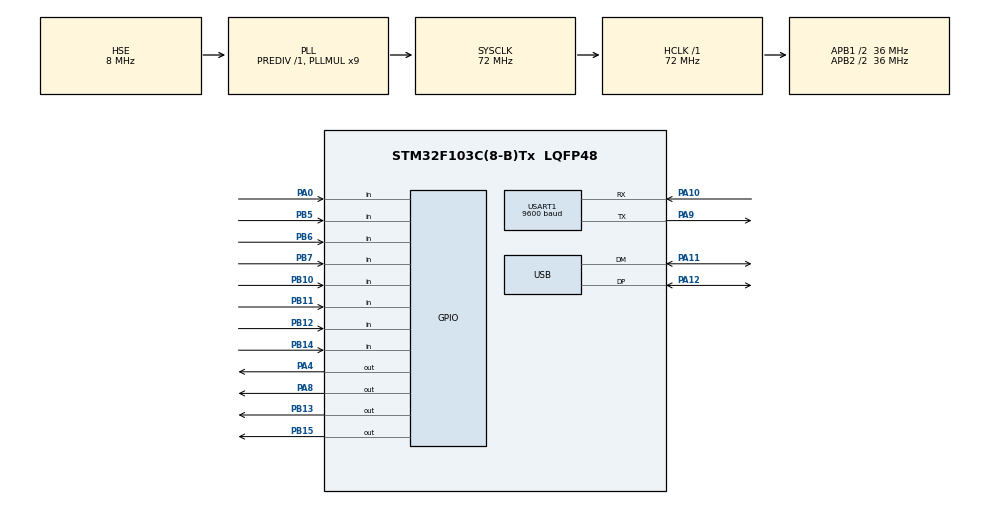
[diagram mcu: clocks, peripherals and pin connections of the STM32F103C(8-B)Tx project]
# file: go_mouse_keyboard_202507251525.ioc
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Mcu.Family=STM32F1
Mcu.Name=STM32F103C(8-B)Tx
Mcu.Package=LQFP48
NVIC.PriorityGroup=NVIC_PRIORITYGROUP_4
NVIC.USB_LP_CAN1_RX0_IRQn=true\:0\:0\:false\:false\:true\:false\:true\:true
PA0-WKUP.GPIO_PuPd=GPIO_PULLDOWN
PA0-WKUP.Signal=GPIO_Input
PA10.Mode=Asynchronous
PA10.Signal=USART1_RX
PA11.Mode=Device
PA11.Signal=USB_DM
PA12.Mode=Device
PA12.Signal=USB_DP
PA13.Mode=Serial_Wire
PA13.Signal=SYS_JTMS-SWDIO
PA14.Mode=Serial_Wire
PA14.Signal=SYS_JTCK-SWCLK
PA4.Signal=GPIO_Output
PA8.Signal=GPIO_Output
PA9.Mode=Asynchronous
PA9.Signal=USART1_TX
PB10.Signal=GPIO_Input
PB11.Signal=GPIO_Input
PB12.Signal=GPIO_Input
PB13.Signal=GPIO_Output
PB14.Signal=GPIO_Input
PB15.Signal=GPIO_Output
PB5.Signal=GPIO_Input
PB6.Signal=GPIO_Input
PB7.Signal=GPIO_Input
PC14-OSC32_IN.Mode=LSE-External-Oscillator
PC14-OSC32_IN.Signal=RCC_OSC32_IN
PC15-OSC32_OUT.Mode=LSE-External-Oscillator
PC15-OSC32_OUT.Signal=RCC_OSC32_OUT
PD0-OSC_IN.Mode=HSE-External-Oscillator
PD0-OSC_IN.Signal=RCC_OSC_IN
PD1-OSC_OUT.Mode=HSE-External-Oscillator
PD1-OSC_OUT.Signal=RCC_OSC_OUT
ProjectManager.HeapSize=0x1000
ProjectManager.StackSize=0x1000
ProjectManager.TargetToolchain=STM32CubeIDE
RCC.AHBFreq_Value=72000000
RCC.APB1CLKDivider=RCC_HCLK_DIV2
RCC.APB1Freq_Value=36000000
RCC.APB1TimFreq_Value=72000000
RCC.APB2CLKDivider=RCC_HCLK_DIV2
RCC.APB2Freq_Value=36000000
RCC.APB2TimFreq_Value=72000000
RCC.HCLKFreq_Value=72000000
RCC.PLLMUL=RCC_PLL_MUL9
RCC.SYSCLKFreq_VALUE=72000000
RCC.SYSCLKSource=RCC_SYSCLKSOURCE_PLLCLK
RCC.USBFreq_Value=48000000
RCC.USBPrescaler=RCC_USBCLKSOURCE_PLL_DIV1_5
USART1.BaudRate=9600
USART1.VirtualMode=VM_ASYNC
USB_DEVICE.CLASS_NAME_FS=HID
USB_DEVICE.VirtualMode=Hid
USB_DEVICE.VirtualModeFS=Hid_FS
VP_USB_DEVICE_VS_USB_DEVICE_HID_FS.Mode=HID_FS
board=custom

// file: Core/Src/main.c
/* USER CODE BEGIN Header */
/**
  ******************************************************************************
  * @file           : main.c
  * @brief          : Main program body
  ******************************************************************************
  * @attention
  *
  * Copyright (c) 2024 STMicroelectronics.
  * All rights reserved.
  *
  * This software is licensed under terms that can be found in the LICENSE file
  * in the root directory of this software component.
  * If no LICENSE file comes with this software, it is provided AS-IS.
  *
  ******************************************************************************
  */
/* USER CODE END Header */
#include "main.h"
#include "usart.h"
#include "usb_device.h"
#include "gpio.h"

void SystemClock_Config(void);
/* USER CODE BEGIN PFP */
#include "usbd_hid.h"
#include "oled.h" //显示屏
#include "Serial.h" //串口
#include "Key.h" //按键
// 实现鼠标和键盘一体化后，由.ioc文件自动生成的usbd_hid.h 和 usbd_hid.c文件，需要被手工修，或直接替换
/* USER CODE END PFP */

/* USER CODE BEGIN 0 */

// HID report descriptor, example for a simple mouse
static uint8_t Mouse[9] = {2,0,0,0,0,0,0,0,0};
static uint8_t KeyBoard[9] = {1,0,0,4,0,0,0,0,0};
static uint8_t KeyBoard01[9] = {1,0,0,0,0,0,0,0,0};
static uint8_t mouse_keyboard_test_1[10] = {0x01,0x0A,0x0A,0x20,0x00,0x00,0x00,0x00,0x00,0x00};//MAC截屏测试命令
static uint8_t mouse_keyboard_test_2[10] = {0x02,0x00,0x40,0x00,0x00,0x00,0x00,0x00,0x00,0x00};//向右移动鼠标
static uint8_t mouse_keyboard_test_3[10] = {0x02,0x00,0xC0,0x00,0x00,0x00,0x00,0x00,0x00,0x00};//向左移动鼠标
static uint8_t mouse_keyboard_test_4[10] = {0x02,0x00,0x00,0xC0,0x00,0x00,0x00,0x00,0x00,0x00};//向上移动鼠标
static uint8_t mouse_keyboard_test_5[10] = {0x02,0x00,0x00,0x40,0x00,0x00,0x00,0x00,0x00,0x00};//向下移动鼠标
static uint8_t mouse_keyboard_test_6[10] = {0x01,0x01,0x0A,0x3A,0x00,0x00,0x00,0x00,0x00,0x00};//安卓截屏测试命令

// HID 键名数组
const char* HID_KEY_NAMES[] = {
    "None", "Err", "Err", "Err", "a", "b", "c", "d", "e", "f",
    "g", "h", "i", "j", "k", "l", "m", "n", "o", "p",
    "q", "r", "s", "t", "u", "v", "w", "x", "y", "z",
    "1", "2", "3", "4", "5", "6", "7", "8", "9", "0",
    "Enter", "Esc", "Bksp", "Tab", "Space", "-", "=", "[", "]", "\\",
    "None", ";", "'", "`", ",", ".", "/", "Caps", "F1", "F2",
    "F3", "F4", "F5", "F6", "F7", "F8", "F9", "F10", "F11", "F12",
    "PrtSc", "ScrLk", "Pause", "Ins", "Home", "PgUp", "Del", "End", "PgDn", "Right",
    "Left", "Down", "Up", "NumLk", "KP /", "KP *", "KP -", "KP +", "KP Enter", "KP 1",
    "KP 2", "KP 3", "KP 4", "KP 5", "KP 6", "KP 7", "KP 8", "KP 9", "KP 0", "KP .",
    "Err", "Err", "Err", "Err", "Err", "Err", "Err", "Err", "Err", "Err",
    "Err", "Err", "Err", "Err", "Err", "Err", "Err", "Err", "Err", "Err"
};

// 修饰键数组
const char* MODIFIER_KEYS[] = {
    "", "Ctrl", "Shift", "Ctrl+Shift", "Alt", "Ctrl+Alt", "Shift+Alt", "Ctrl+Shift+Alt",
    "GUI", "Ctrl+GUI", "Shift+GUI", "Ctrl+Shift+GUI", "Alt+GUI", "Ctrl+Alt+GUI", "Shift+Alt+GUI", "Ctrl+Shift+Alt+GUI"
};

// Declare the external USB device handle
extern USBD_HandleTypeDef hUsbDeviceFS;

/* USER CODE END 0 */

int main(void)
{

  /* MCU Configuration--------------------------------------------------------*/

  /* Reset of all peripherals, Initializes the Flash interface and the Systick. */
  HAL_Init();

  /* Configure the system clock */
  SystemClock_Config();

  /* Initialize all configured peripherals */
  MX_GPIO_Init();
  MX_USB_DEVICE_Init();
  MX_USART1_UART_Init();

  /* USER CODE BEGIN 2 */
  OLED_InitDisplay();//OLED显示初始化 需要放在 MX_GPIO_Init() 之后，用 oled.c 里的初始化设置代替 gpio.c 里的系统初始化
  Key_Init();//按键初始化
  Serial_Init();// 串口 UART 的初始化
  uint8_t KeyNum; // 定义用于接收按键键码的变量

  //蜂鸣器
  HAL_GPIO_WritePin(GPIOA, GPIO_PIN_4, GPIO_PIN_SET);
  HAL_GPIO_TogglePin(GPIOA, GPIO_PIN_8);//LED指示灯闪烁
  HAL_Delay(200);  // 响200ms
  HAL_GPIO_WritePin(GPIOA, GPIO_PIN_4, GPIO_PIN_RESET);
  HAL_GPIO_TogglePin(GPIOA, GPIO_PIN_8);//LED指示灯闪烁
  HAL_Delay(200);  // 延时

  processMouseCommand(mouse_keyboard_test_2);// 右
  HAL_Delay(500);  // 延时
  processMouseCommand(mouse_keyboard_test_3);// 左
  processMouseCommand(mouse_keyboard_test_3);// 左
  HAL_Delay(500);  // 延时
  processMouseCommand(mouse_keyboard_test_4);// 上
  HAL_Delay(500);  // 延时
  processMouseCommand(mouse_keyboard_test_5);// 下
  processMouseCommand(mouse_keyboard_test_5);// 下
  HAL_Delay(500);  // 延时
  processMouseCommand(mouse_keyboard_test_3);// 左
  HAL_Delay(500);  // 延时
  processMouseCommand(mouse_keyboard_test_2);// 右
  processMouseCommand(mouse_keyboard_test_2);// 右
  HAL_Delay(500);  // 延时
  processMouseCommand(mouse_keyboard_test_5);// 下
  HAL_Delay(500);  // 延时
  processMouseCommand(mouse_keyboard_test_4);// 上
  processMouseCommand(mouse_keyboard_test_4);// 上
  HAL_Delay(500);  // 延时

  processKeyboardCommand(mouse_keyboard_test_1);// MAC截屏
  processKeyboardCommand(mouse_keyboard_test_6);// 安卓截屏

  //蜂鸣器
  HAL_GPIO_WritePin(GPIOA, GPIO_PIN_4, GPIO_PIN_SET);
  HAL_GPIO_TogglePin(GPIOA, GPIO_PIN_8);//LED指示灯闪烁
  HAL_Delay(200);  // 响400ms
  HAL_GPIO_WritePin(GPIOA, GPIO_PIN_4, GPIO_PIN_RESET);
  HAL_GPIO_TogglePin(GPIOA, GPIO_PIN_8);//LED指示灯闪烁
  HAL_Delay(200);  // 响400ms
  HAL_GPIO_WritePin(GPIOA, GPIO_PIN_4, GPIO_PIN_SET);
  HAL_GPIO_TogglePin(GPIOA, GPIO_PIN_8);//LED指示灯闪烁
  HAL_Delay(200);  // 响400ms
  HAL_GPIO_WritePin(GPIOA, GPIO_PIN_4, GPIO_PIN_RESET);
  HAL_GPIO_TogglePin(GPIOA, GPIO_PIN_8);//LED指示灯闪烁

  /*设置发送数据包数组的初始值*/
  memset(Serial_TxPacket, 0, 10); //包有效数据长度为10，0-9

  /* USER CODE END 2 */

  /* Infinite loop */
  /* USER CODE BEGIN WHILE */
  while (1)
  {
      initializeMouseKeyBoards(); // 初始化鼠标键盘预设函数
      KeyNum = Key_GetNum();			//获取按键键码

      switch (KeyNum)
      {
      	  case 0://led测试 PA0 MAC截屏及鼠标移动测试
      	  case 10://led测试 PB10 MAC截屏及鼠标移动测试
      		HAL_GPIO_TogglePin(GPIOA, GPIO_PIN_8);//LED指示灯闪烁

      		//蜂鸣器
      		HAL_GPIO_WritePin(GPIOA, GPIO_PIN_4, GPIO_PIN_SET);
      		HAL_Delay(200);  // 响200ms
      		HAL_GPIO_WritePin(GPIOA, GPIO_PIN_4, GPIO_PIN_RESET);

      		processKeyboardCommand(mouse_keyboard_test_1);// 截屏
      		HAL_Delay(200);  // 延时
      		processMouseCommand(mouse_keyboard_test_2);// 右
      		HAL_Delay(1000);  // 延时
      		processMouseCommand(mouse_keyboard_test_3);// 左
      		processMouseCommand(mouse_keyboard_test_3);// 左
      		HAL_Delay(1000);  // 延时
      		processMouseCommand(mouse_keyboard_test_4);// 上
      		HAL_Delay(1000);  // 延时
      		processMouseCommand(mouse_keyboard_test_5);// 下
      		processMouseCommand(mouse_keyboard_test_5);// 下
      		HAL_Delay(1000);  // 延时
      		processMouseCommand(mouse_keyboard_test_3);// 左
      		HAL_Delay(1000);  // 延时
      		processMouseCommand(mouse_keyboard_test_2);// 右
      		processMouseCommand(mouse_keyboard_test_2);// 右
      		HAL_Delay(1000);  // 延时
      		processMouseCommand(mouse_keyboard_test_5);// 下
      		HAL_Delay(1000);  // 延时
      		processMouseCommand(mouse_keyboard_test_4);// 上
      		processMouseCommand(mouse_keyboard_test_4);// 上

      		//蜂鸣器
      		HAL_GPIO_WritePin(GPIOA, GPIO_PIN_4, GPIO_PIN_SET);
      		HAL_Delay(400);  // 响400ms
      		HAL_GPIO_WritePin(GPIOA, GPIO_PIN_4, GPIO_PIN_RESET);

      		break;
      	  case 11://led测试 PB11 安卓截屏及鼠标移动测试
      		HAL_GPIO_TogglePin(GPIOA, GPIO_PIN_8);//LED指示灯闪烁

      		//蜂鸣器
      		HAL_GPIO_WritePin(GPIOA, GPIO_PIN_4, GPIO_PIN_SET);
      		HAL_Delay(200);  // 响200ms
      		HAL_GPIO_WritePin(GPIOA, GPIO_PIN_4, GPIO_PIN_RESET);

        	processKeyboardCommand(mouse_keyboard_test_6);// 截屏
        	HAL_Delay(200);  // 延时
        	processMouseCommand(mouse_keyboard_test_2);// 右
        	HAL_Delay(1000);  // 延时
        	processMouseCommand(mouse_keyboard_test_3);// 左
        	processMouseCommand(mouse_keyboard_test_3);// 左
        	HAL_Delay(1000);  // 延时
        	processMouseCommand(mouse_keyboard_test_4);// 上
        	HAL_Delay(1000);  // 延时
        	processMouseCommand(mouse_keyboard_test_5);// 下
        	processMouseCommand(mouse_keyboard_test_5);// 下
        	HAL_Delay(1000);  // 延时
        	processMouseCommand(mouse_keyboard_test_3);// 左
        	HAL_Delay(1000);  // 延时
        	processMouseCommand(mouse_keyboard_test_2);// 右
        	processMouseCommand(mouse_keyboard_test_2);// 右
        	HAL_Delay(1000);  // 延时
        	processMouseCommand(mouse_keyboard_test_5);// 下
        	HAL_Delay(1000);  // 延时
        	processMouseCommand(mouse_keyboard_test_4);// 上
        	processMouseCommand(mouse_keyboard_test_4);// 上

      		//蜂鸣器
      		HAL_GPIO_WritePin(GPIOA, GPIO_PIN_4, GPIO_PIN_SET);
      		HAL_Delay(400);  // 响400ms
      		HAL_GPIO_WritePin(GPIOA, GPIO_PIN_4, GPIO_PIN_RESET);

      		break;
      	  case 5:
      	  case 6:
      	  case 7:
      	  case 12:
      	  case 14:
      		OLED_ShowString(4, 3, "             "); // 擦干净
      		OLED_ShowNum(4, 3, KeyNum, 2);
      		break;
          default:
              break;
      }

	  if (Serial_GetRxPacketFlag() == 1)			//检查串口包接收数据的标志位
	  {
	      switch (Serial_RxPacket[0]) // 命令
	      {
	      	case 0x00: // 保留
	      		break;
	        case 0x01: // 键盘
	            processKeyboardCommand(Serial_RxPacket);// 处理串口收到的键盘数据
//	            HAL_GPIO_TogglePin(GPIOA, GPIO_PIN_8);//LED指示灯闪烁
	            break;
	        case 0x02: // 鼠标
	            processMouseCommand(Serial_RxPacket);// 处理串口收到的数据
//	        	HAL_GPIO_TogglePin(GPIOA, GPIO_PIN_8);//LED指示灯闪烁
	            break;
	        case 0x03: // 蜂鸣器
	        	HAL_GPIO_TogglePin(GPIOA, GPIO_PIN_8);//LED指示灯闪烁
	        	HAL_GPIO_WritePin(GPIOA, GPIO_PIN_4, GPIO_PIN_SET);
	        	HAL_Delay(30);  // 响30ms
	        	HAL_GPIO_WritePin(GPIOA, GPIO_PIN_4, GPIO_PIN_RESET);
	        	break;
	        default:
	            break;
	      }
		  /*串口发送命令执行完成数据包，原命令数据返回*/
		  memcpy(Serial_TxPacket, Serial_RxPacket, 10);//包有效数据长度为10，0-9
		  Serial_SendPacket();		//串口发送数据包Serial_TxPacket

      }

	  // HAL_Delay(10);  // 延时

    /* USER CODE END WHILE */

  }
}

void SystemClock_Config(void)
{
  RCC_OscInitTypeDef RCC_OscInitStruct = {0};
  RCC_ClkInitTypeDef RCC_ClkInitStruct = {0};
  RCC_PeriphCLKInitTypeDef PeriphClkInit = {0};

  /** Initializes the RCC Oscillators according to the specified parameters
  * in the RCC_OscInitTypeDef structure.
  */
  RCC_OscInitStruct.OscillatorType = RCC_OSCILLATORTYPE_HSE;
  RCC_OscInitStruct.HSEState = RCC_HSE_ON;
  RCC_OscInitStruct.HSEPredivValue = RCC_HSE_PREDIV_DIV1;
  RCC_OscInitStruct.HSIState = RCC_HSI_ON;
  RCC_OscInitStruct.PLL.PLLState = RCC_PLL_ON;
  RCC_OscInitStruct.PLL.PLLSource = RCC_PLLSOURCE_HSE;
  RCC_OscInitStruct.PLL.PLLMUL = RCC_PLL_MUL9;
  if (HAL_RCC_OscConfig(&RCC_OscInitStruct) != HAL_OK)
  {
    Error_Handler();
  }

  /** Initializes the CPU, AHB and APB buses clocks
  */
  RCC_ClkInitStruct.ClockType = RCC_CLOCKTYPE_HCLK|RCC_CLOCKTYPE_SYSCLK
                              |RCC_CLOCKTYPE_PCLK1|RCC_CLOCKTYPE_PCLK2;
  RCC_ClkInitStruct.SYSCLKSource = RCC_SYSCLKSOURCE_PLLCLK;
  RCC_ClkInitStruct.AHBCLKDivider = RCC_SYSCLK_DIV1;
  RCC_ClkInitStruct.APB1CLKDivider = RCC_HCLK_DIV2;
  RCC_ClkInitStruct.APB2CLKDivider = RCC_HCLK_DIV2;

  if (HAL_RCC_ClockConfig(&RCC_ClkInitStruct, FLASH_LATENCY_2) != HAL_OK)
  {
    Error_Handler();
  }
  PeriphClkInit.PeriphClockSelection = RCC_PERIPHCLK_USB;
  PeriphClkInit.UsbClockSelection = RCC_USBCLKSOURCE_PLL_DIV1_5;
  if (HAL_RCCEx_PeriphCLKConfig(&PeriphClkInit) != HAL_OK)
  {
    Error_Handler();
  }
}

/* USER CODE BEGIN 4 */
//OLED 初始化代码
void OLED_InitDisplay() {
	OLED_Init();  // 初始化OLED显示

    // 初始显示标签
	OLED_ShowString(1, 1, "S H:     V:");
    OLED_ShowString(2, 1, "B L    R    M");
    OLED_ShowString(3, 1, "W");
    OLED_ShowString(4, 1, "K");
}

// 更新鼠标滚动值
void OLED_UpdateScroll(int hScroll, int vScroll) {
	if (hScroll == 0){
		OLED_ShowString(1, 5, "     ");
	}else{
		OLED_ShowSignedNum(1, 5, hScroll, 3); // 更新水平滚动值，宽度3
	}
	if (vScroll == 0){
		OLED_ShowString(1, 12, "     ");
	}else{
		OLED_ShowSignedNum(1, 12, vScroll, 3); // 更新垂直滚动值，宽度3
	}
}

// 更新鼠标按键状态
void OLED_UpdateButtons(int btnLeft, int btnRight, int btnMiddle) {
	OLED_ShowChar(2, 5, btnLeft ? '*' : ' ');  // 更新左键状态
    OLED_ShowChar(2, 10, btnRight ? '*' : ' '); // 更新右键状态
    OLED_ShowChar(2, 15, btnMiddle ? '*' : ' '); // 更新中键状态
}

// 更新鼠标滚轮状态
void OLED_UpdateWheel(int wheel) {
	if (wheel == 0){
		OLED_ShowString(3, 3, "    ");
	}else{
		OLED_ShowSignedNum(3, 3, wheel, 3); // 更新滚轮滚动值，宽度3
	}
}

// 更新键盘按键（显示组合键）
void OLED_UpdateKey(uint8_t modifier, uint8_t key1, uint8_t key2) {
    static char combo_key[64];
    if (modifier != 0) {
        if (key2 != 0) {
            snprintf(combo_key, sizeof(combo_key), "%s+%s+%s", MODIFIER_KEYS[modifier], HID_KEY_NAMES[key1], HID_KEY_NAMES[key2]);
        } else {
            snprintf(combo_key, sizeof(combo_key), "%s+%s", MODIFIER_KEYS[modifier], HID_KEY_NAMES[key1]);
        }
    } else {
        if (key2 != 0) {
            snprintf(combo_key, sizeof(combo_key), "%s+%s", HID_KEY_NAMES[key1], HID_KEY_NAMES[key2]);
        } else {
            snprintf(combo_key, sizeof(combo_key), "%s", HID_KEY_NAMES[key1]);
        }
    }
    OLED_ShowString(4, 3, "             "); // 擦干净
    OLED_ShowString(4, 3, combo_key); // 更新显示键名
}

// 初始化鼠标键盘预设函数
void initializeMouseKeyBoards() {
	  // KeyBoard[0] 是一个固定值，通常用于表示HID报告的ID。对于键盘，这个值一般为1。
	  // KeyBoard[1] 是一个位图，用于表示修饰键（如Ctrl、Shift、Alt等）的状态。
	  // KeyBoard[2] 保留位，一般设为0。
	  // KeyBoard[3] 到 KeyBoard[8] 用于存储按下的按键的键值，最多可以同时表示6个按键的按下状态。
	  // 这样可以在一个HID报告中同时表示多个按键的状态，从而实现组合键的功能。

	// 使用 memset 将 KeyBoard 和 KeyBoard01 的所有元素初始化为 0

	memset(Mouse, 0, sizeof(Mouse));
    memset(KeyBoard, 0, sizeof(KeyBoard));
    memset(KeyBoard01, 0, sizeof(KeyBoard01));

    // 手动设置 KeyBoard[0] 和 KeyBoard01[0] 为 1
    Mouse[0] = 2;
    KeyBoard[0] = 1;
    KeyBoard01[0] = 1;
}

// 处理串口收到的键盘数据
void processKeyboardCommand(uint8_t* packet) {
    if (packet[0] != 0x01) return; // 检查是否为键盘命令

    // KeyBoard[0] 是一个固定值，通常用于表示HID报告的ID。对于键盘，这个值一般为1。
    KeyBoard[1] = packet[1]; // KeyBoard[1] 是一个位图，用于表示修饰键（如Ctrl、Shift、Alt等）的状态。
    // KeyBoard[2] 保留位，一般设为0。
    KeyBoard[3] = packet[3]; // KeyBoard[3] 到 KeyBoard[8] 用于存储按下的按键的键值，最多可以同时表示6个按键的按下状态。
    KeyBoard[4] = packet[4];
    KeyBoard[5] = packet[5];
    KeyBoard[6] = packet[6];
    KeyBoard[7] = packet[7];
    KeyBoard[8] = packet[8];

    OLED_UpdateKey(KeyBoard[1], KeyBoard[3], KeyBoard[4]); // 更新OLED显示组合键
    USBD_HID_SendReport(&hUsbDeviceFS, (uint8_t*)&KeyBoard, sizeof(KeyBoard));
    if (packet[2]!=0) {//有延时，表示需要抬起按键，如果值为0，表示按住不抬起键盘
    	HAL_Delay(packet[2] * 10);  // 延时1等于10毫秒
    	USBD_HID_SendReport(&hUsbDeviceFS, (uint8_t*)&KeyBoard01, sizeof(KeyBoard01));
    }
}

// 处理串口收到的鼠标数据
void processMouseCommand(uint8_t* packet) {
    if (packet[0] != 0x02) return; // 检查是否为鼠标命令

    uint8_t buttonState = packet[1];
    int8_t xMove = (int8_t)packet[2];
    int8_t yMove = (int8_t)packet[3];
    int8_t wheelMove = (int8_t)packet[4];

    // 更新鼠标按键状态
    Mouse[0] = 0x02;
    Mouse[1] = buttonState;
    Mouse[2] = xMove;
    Mouse[3] = yMove;
    Mouse[4] = wheelMove;

    // 发送HID报告
    USBD_HID_SendReport(&hUsbDeviceFS, Mouse, sizeof(Mouse));

    // 更新OLED显示
    OLED_UpdateScroll(xMove, yMove);
    OLED_UpdateButtons(buttonState & 0x01, buttonState & 0x02, buttonState & 0x04);
    OLED_UpdateWheel(wheelMove);
}

/* USER CODE END 4 */

void Error_Handler(void)
{
  __disable_irq();
  while (1)
  {
  }
}
